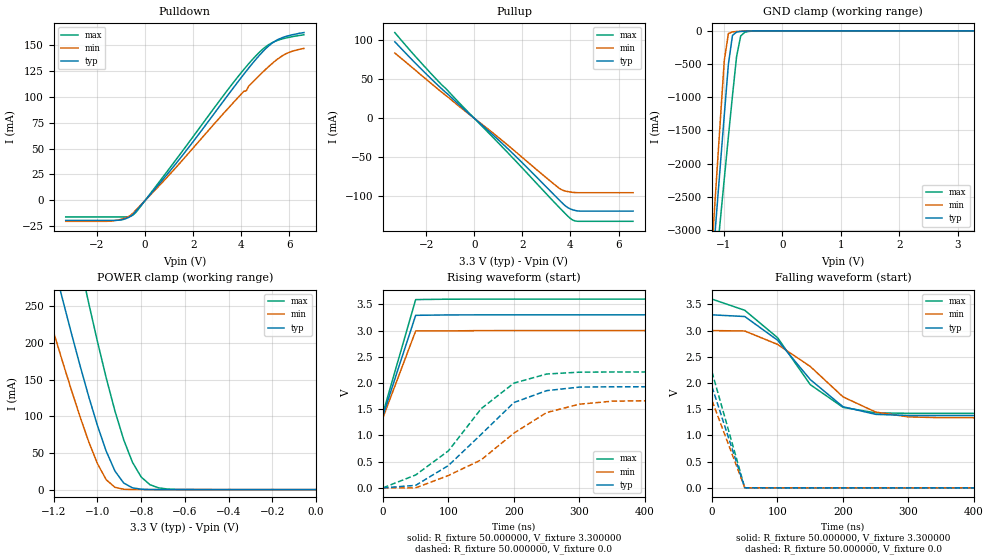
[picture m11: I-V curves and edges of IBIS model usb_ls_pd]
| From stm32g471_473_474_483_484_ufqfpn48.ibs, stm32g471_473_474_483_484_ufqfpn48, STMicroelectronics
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|   Model usb_ls_pd
[Model]  usb_ls_pd
Model_type I/O
Polarity   Non-Inverting
Enable   Active-Low
Vinl =   0.990000V
Vinh =   2.310000V
Vmeas =  1.650000V
Cref =   50.000000pF
Rref =   100.000000M
Vref =   0.0V
C_comp   6.430500pF   6.217500pF   6.600000pF
[Temperature Range]   25.000000   -40.000000   0.125000k
[Pullup Reference]   3.300000V   3.000000V   3.600000V
[Pulldown Reference]   0.0V   0.0V   0.0V
[POWER Clamp Reference]   3.300000V   3.000000V   3.600000V
[GND Clamp Reference]   0.0V   0.0V   0.0V
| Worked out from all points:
|   slope of the pulldown table from 0 to 0.495 V, typ, clamps not added: 36.8 ohm
|   slope of the pullup table from 0 to 0.495 V, typ, clamps not added: 36.4 ohm
|   GND clamp passes 1 mA (typ) near -0.51 V on its own axis
|   POWER clamp passes 1 mA (typ) near -0.81 V on its own axis
|   rising waveform, R_fixture 50.000000, V_fixture 3.300000: 20-80 % time 30.2ns typ, 30.2ns min, 30.2ns max; typ from 1.38 V to 3.3 V
|   rising waveform, R_fixture 50.000000, V_fixture 0.0: 20-80 % time 98.4ns typ, 120ns min, 105ns max; typ from 0 V to 1.93 V
|   falling waveform, R_fixture 50.000000, V_fixture 3.300000: 20-80 % time 90.2ns typ, 103ns min, 91.6ns max; typ from 3.3 V to 1.38 V
|   falling waveform, R_fixture 50.000000, V_fixture 0.0: 20-80 % time 30.1ns typ, 30ns min, 30ns max; typ from 1.93 V to 0 V
[Pulldown]
|Voltage   I(typ)   I(min)   I(max)
-3.3V     -19.2mA    -20.1mA    -15.89mA
-1.4V     -19.2mA    -19.9mA    -15.89mA
-900mV    -18.26mA   -17.38mA   -15.89mA
-500mV    -13.4mA    -12.15mA   -13.95mA
1.5V      41.88mA    37.45mA    45.96mA
3.6V      106.4mA    92.52mA    111.6mA
4.2V      124.5mA    105.5mA    128.8mA
4.6V      135.8mA    117mA      139.3mA
5.1V      148.1mA    128.2mA    149.5mA
5.5V      154.8mA    136.1mA    154.1mA
5.9V      158.3mA    141.8mA    156.7mA
6.6V      161.7mA    146.4mA    159.6mA
[Pullup]
|Voltage   I(typ)   I(min)   I(max)
-3.3V     98.4mA     83.8mA     110.2mA
-1.8V     51mA       44.96mA    57.5mA
1.3V      -36.56mA   -32.34mA   -41.42mA
3.5V      -104.3mA   -89.53mA   -113.9mA
3.8V      -113.3mA   -93.94mA   -123.4mA
4V        -116.9mA   -95.11mA   -129.3mA
4.1V      -118.1mA   -95.6mA    -131.3mA
4.3V      -119.5mA   -96mA      -132.8mA
6.6V      -119.7mA   -96mA      -132.8mA
[GND_clamp]
|Voltage   I(typ)   I(min)   I(max)
-3.3V     -10A       -9.932A    -9.409A
-1.2V     -3.625A    -3.264A    -4.165A
-1.13V    -2.833A    -2.317A    -3.515A
-1.06V    -2.046A    -1.375A    -2.868A
-990mV    -1.266A    -445.1mA   -2.226A
-920mV    -503.5mA   -41.45mA   -1.593A
-850mV    -68.24mA   -15.91mA   -976.3mA
-780mV    -18.24mA   -9.781mA   -388mA
-710mV    -9.49mA    -5.26mA    -77.73mA
-640mV    -5.165mA   -2.071mA   -21.59mA
-360mV    -29.75uA   -16.08uA   -441.1uA
3.28V     165.7uA    130.1uA    190.5uA
[POWER_clamp]
|Voltage   I(typ)   I(min)   I(max)
-3.28V    2.966A     2.441A     3.782A
-1.28V    401.9mA    294mA      598.3mA
-1.24V    353.8mA    253.5mA    538.6mA
-1.16V    259.3mA    174.3mA    421.4mA
-1.08V    169mA      99.32mA    308.1mA
-1.04V    126.5mA    65.09mA    253.7mA
-960mV    52.29mA    13.42mA    152.1mA
-920mV    25.24mA    3.092mA    107mA
-840mV    2.418mA    75.94uA    37.33mA
-760mV    129.2uA    1.641uA    6.707mA
-640mV    1.455uA    0A         261.4uA
0V        0A         0A         66.72nA
[Ramp]
| variable   typ   min   max
dV/dt_r  1.15692/94.19016n   0.99732/0.11093u   1.32594/96.92053n
dV/dt_f  1.15212/83.81808n   0.99762/97.44232n   1.30692/85.88488n
R_load = 50.000000
[Rising Waveform]
R_fixture= 50.000000
V_fixture= 3.300000
V_fixture_min= 3.000000
V_fixture_max= 3.600000
|time   V(typ)   V(min)   V(max)
0s        1.379V     1.337V     1.421V
50.05ns   3.29V      2.992V     3.59V
200.2ns   3.299V     3V         3.599V
4.955us   3.299V     3V         3.599V
[Rising Waveform]
R_fixture= 50.000000
V_fixture= 0.0
V_fixture_min= 0.0
V_fixture_max= 0.0
|time   V(typ)   V(min)   V(max)
0s        8.104nV    5.493nV    1.686uV
50.05ns   48.01mV    -51.43uV   245.6mV
100.1ns   425.9mV    236mV      705.8mV
150.2ns   1.021V     533.8mV    1.51V
200.2ns   1.627V     1.044V     1.998V
250.2ns   1.854V     1.437V     2.171V
300.3ns   1.922V     1.595V     2.206V
350.3ns   1.927V     1.653V     2.209V
450.5ns   1.928V     1.662V     2.21V
4.955us   1.928V     1.662V     2.21V
[Falling Waveform]
R_fixture= 50.000000
V_fixture= 3.300000
V_fixture_min= 3.000000
V_fixture_max= 3.600000
|time   V(typ)   V(min)   V(max)
0s        3.299V     3V         3.599V
50.05ns   3.267V     2.991V     3.386V
100.1ns   2.816V     2.736V     2.865V
150.2ns   2.065V     2.315V     1.968V
200.2ns   1.547V     1.735V     1.535V
250.2ns   1.401V     1.444V     1.43V
300.3ns   1.38V      1.353V     1.422V
350.3ns   1.379V     1.338V     1.421V
4.955us   1.379V     1.337V     1.421V
[Falling Waveform]
R_fixture= 50.000000
V_fixture= 0.0
V_fixture_min= 0.0
V_fixture_max= 0.0
|time   V(typ)   V(min)   V(max)
0s        1.928V     1.662V     2.21V
50.05ns   1.325mV    1.043mV    1.24mV
200.2ns   3.247uV    6.656uV    3.287uV
4.955us   8.104nV    5.493nV    1.686uV
